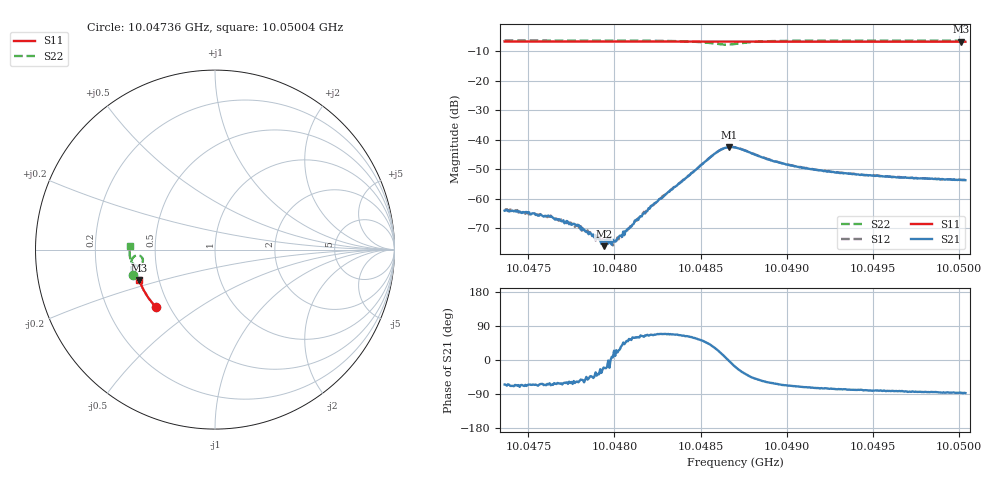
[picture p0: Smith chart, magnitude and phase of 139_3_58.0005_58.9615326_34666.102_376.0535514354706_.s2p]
#  HZ  S  RI  R  50.00
! Rohde & Schwarz Vector Network Analyzer
! Rohde-Schwarz,ZNB20-2Port,1311601062101988,3.16
! Created: UTC 3/21/2024, 12:56:27 AM
! freq[Hz]  re:S11  im:S11  re:S21  im:S21  re:S12  im:S12  re:S22  im:S22
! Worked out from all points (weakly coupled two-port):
!   401 points, 10.04736 GHz to 10.05004 GHz, reference 50 ohm
!   highest |S21| = -42.44 dB at 10.04867 GHz (marker M1); lowest = -76.0 dB at 10.04794 GHz (marker M2)
!   lowest |S11| = -6.8 dB at 10.05001 GHz (marker M3), VSWR 2.67, Z = 19.3 - j8.36 ohm
!   |S11| at or under -10 dB: nowhere
!   |S22| runs from -7.8 to -6.4 dB; largest |S21 - S12| = 0.00051
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1.0047362e10  -0.331 -0.3198  0.00027 -0.000572  0.000318 -0.000589  -0.4576 -0.1403
1.0047623e10  -0.3424 -0.3068  0.000241 -0.000442  0.000249 -0.000439  -0.462 -0.1222
1.0047777e10  -0.3489 -0.2988  0.000192 -0.000301  0.000193 -0.000293  -0.4642 -0.1108
1.0047811e10  -0.3503 -0.2969  0.0002 -0.000259  0.000199 -0.000211  -0.4648 -0.1082
1.0047904e10  -0.3542 -0.2921  0.000179 -0.000132  0.000203 -0.00011  -0.4656 -0.101
1.0047924e10  -0.3549 -0.291  0.000144 -9.74e-05  0.00018 -7.04e-05  -0.4659 -0.0993
1.0047938e10  -0.3555 -0.2902  0.000149 -5.39e-05  0.000174 -7.46e-05  -0.466 -0.0982
1.0047958e10  -0.3563 -0.2892  0.000187 -6e-05  0.000207 -2.95e-05  -0.4663 -0.0967
1.0047984e10  -0.3573 -0.2878  0.000166 2.52e-05  0.000192 4.51e-06  -0.4664 -0.0943
1.0048004e10  -0.3582 -0.2868  0.000186 3.55e-05  0.000164 8.3e-05  -0.4666 -0.0927
1.0048058e10  -0.3604 -0.2839  0.000182 0.000163  0.000169 0.000192  -0.4669 -0.0882
1.0048158e10  -0.3643 -0.2787  0.000225 0.000452  0.000216 0.0005  -0.4672 -0.0789
1.0048259e10  -0.3681 -0.273  0.000367 0.000911  0.000328 0.00091  -0.4662 -0.0685
1.004858e10  -0.3795 -0.2551  0.00484 0.00313  0.00464 0.00342  -0.4225 -0.0328
1.0048626e10  -0.3809 -0.2527  0.00672 0.0018  0.00667 0.00221  -0.4057 -0.0456
1.0048667e10  -0.3822 -0.2506  0.00754 -0.000423  0.00754 2.43e-05  -0.4021 -0.0654
1.00487e10  -0.3831 -0.2488  0.00708 -0.00223  0.00727 -0.00177  -0.4089 -0.0802
1.0048914e10  -0.391 -0.2369  0.00217 -0.00389  0.00239 -0.0038  -0.4604 -0.0753
1.0049148e10  -0.3985 -0.2234  0.000933 -0.00304  0.00111 -0.00301  -0.4717 -0.0497
1.0049596e10  -0.4115 -0.1969  0.000355 -0.00238  0.000478 -0.00233  -0.4765 -0.013
1.0050011e10  -0.4219 -0.1715  0.000135 -0.00209  0.000255 -0.00209  -0.4764 0.017
1.0050038e10  -0.4227 -0.1699  0.000103 -0.00208  0.000224 -0.00206  -0.4763 0.0189
